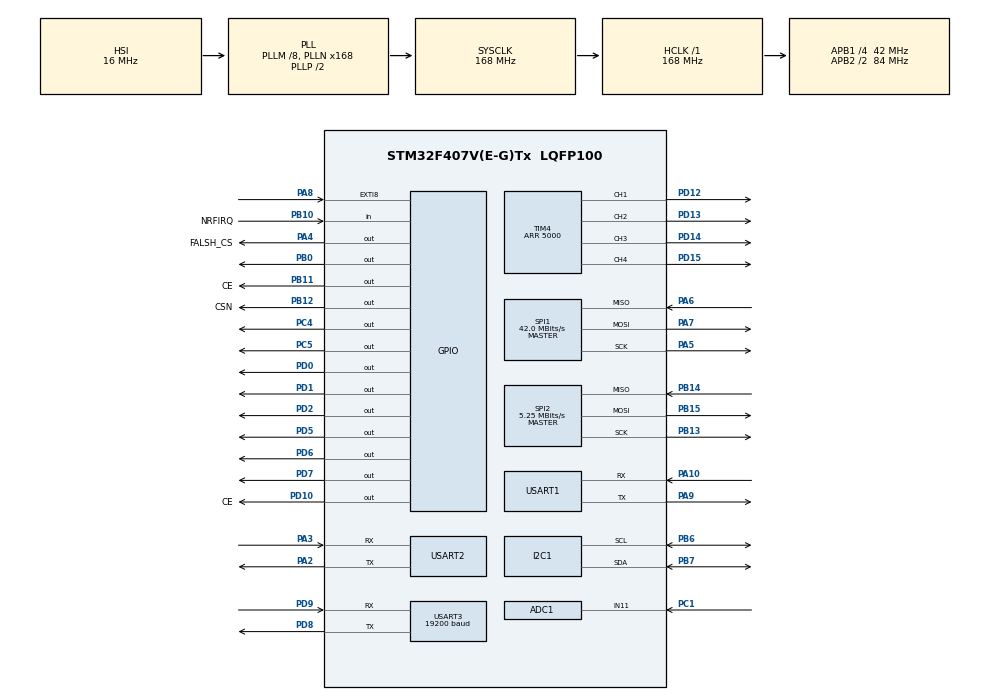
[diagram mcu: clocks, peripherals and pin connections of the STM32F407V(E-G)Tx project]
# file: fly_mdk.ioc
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ADC1.Channel-3\#ChannelRegularConversion=ADC_CHANNEL_11
ADC1.ContinuousConvMode=ENABLE
ADC1.DMAContinuousRequests=ENABLE
ADC1.InjNumberOfConversion=0
ADC1.NbrOfConversion=1
ADC1.NbrOfConversionFlag=1
ADC1.Rank-3\#ChannelRegularConversion=1
ADC1.SamplingTime-3\#ChannelRegularConversion=ADC_SAMPLETIME_15CYCLES
ADC1.ScanConvMode=DISABLE
ADC1.master=1
Dma.ADC1.0.Direction=DMA_PERIPH_TO_MEMORY
Dma.ADC1.0.FIFOMode=DMA_FIFOMODE_DISABLE
Dma.ADC1.0.Instance=DMA2_Stream0
Dma.ADC1.0.MemDataAlignment=DMA_MDATAALIGN_WORD
Dma.ADC1.0.MemInc=DMA_MINC_ENABLE
Dma.ADC1.0.Mode=DMA_CIRCULAR
Dma.ADC1.0.PeriphDataAlignment=DMA_PDATAALIGN_WORD
Dma.ADC1.0.PeriphInc=DMA_PINC_DISABLE
Dma.ADC1.0.Priority=DMA_PRIORITY_VERY_HIGH
Dma.Request0=ADC1
Dma.Request1=USART3_RX
Dma.USART3_RX.1.Direction=DMA_PERIPH_TO_MEMORY
Dma.USART3_RX.1.FIFOMode=DMA_FIFOMODE_DISABLE
Dma.USART3_RX.1.Instance=DMA1_Stream1
Dma.USART3_RX.1.MemDataAlignment=DMA_MDATAALIGN_BYTE
Dma.USART3_RX.1.MemInc=DMA_MINC_ENABLE
Dma.USART3_RX.1.Mode=DMA_CIRCULAR
Dma.USART3_RX.1.PeriphDataAlignment=DMA_PDATAALIGN_BYTE
Dma.USART3_RX.1.PeriphInc=DMA_PINC_DISABLE
Dma.USART3_RX.1.Priority=DMA_PRIORITY_HIGH
I2C1.I2C_Mode=I2C_Fast
Mcu.Family=STM32F4
Mcu.Name=STM32F407V(E-G)Tx
Mcu.Package=LQFP100
NVIC.DMA1_Stream1_IRQn=true\:0\:0\:false\:true\:true\:1\:true\:true
NVIC.EXTI9_5_IRQn=true\:2\:2\:true\:false\:true\:true\:true
NVIC.PriorityGroup=NVIC_PRIORITYGROUP_2
NVIC.TIM2_IRQn=true\:1\:1\:true\:false\:true\:true\:true
NVIC.TIM3_IRQn=true\:0\:0\:false\:false\:true\:true\:true
NVIC.USART1_IRQn=true\:0\:0\:false\:false\:true\:true\:true
NVIC.USART3_IRQn=true\:0\:0\:false\:true\:true\:2\:true\:true
PA10.Mode=Asynchronous
PA10.Signal=USART1_RX
PA13.Mode=Serial_Wire
PA13.Signal=SYS_JTMS-SWDIO
PA14.Mode=Serial_Wire
PA14.Signal=SYS_JTCK-SWCLK
PA2.Mode=Asynchronous
PA2.Signal=USART2_TX
PA3.Mode=Asynchronous
PA3.Signal=USART2_RX
PA4.GPIO_Label=FALSH_CS
PA4.GPIO_Speed=GPIO_SPEED_FREQ_VERY_HIGH
PA4.PinState=GPIO_PIN_SET
PA4.Signal=GPIO_Output
PA5.Mode=Full_Duplex_Master
PA5.Signal=SPI1_SCK
PA6.Mode=Full_Duplex_Master
PA6.Signal=SPI1_MISO
PA7.Mode=Full_Duplex_Master
PA7.Signal=SPI1_MOSI
PA8.GPIO_ModeDefaultEXTI=GPIO_MODE_IT_FALLING
PA8.GPIO_PuPd=GPIO_PULLUP
PA8.Signal=GPXTI8
PA9.Mode=Asynchronous
PA9.Signal=USART1_TX
PB0.GPIO_Speed=GPIO_SPEED_FREQ_VERY_HIGH
PB0.PinState=GPIO_PIN_SET
PB0.Signal=GPIO_Output
PB10.GPIO_Label=NRFIRQ
PB10.GPIO_PuPd=GPIO_PULLUP
PB10.Signal=GPIO_Input
PB11.GPIO_Label=CE
PB11.GPIO_ModeDefaultOutputPP=GPIO_MODE_OUTPUT_PP
PB11.GPIO_PuPd=GPIO_NOPULL
PB11.GPIO_Speed=GPIO_SPEED_FREQ_VERY_HIGH
PB11.PinState=GPIO_PIN_SET
PB11.Signal=GPIO_Output
PB12.GPIO_Label=CSN
PB12.GPIO_ModeDefaultOutputPP=GPIO_MODE_OUTPUT_PP
PB12.GPIO_Speed=GPIO_SPEED_FREQ_VERY_HIGH
PB12.PinState=GPIO_PIN_SET
PB12.Signal=GPIO_Output
PB13.Mode=Full_Duplex_Master
PB13.Signal=SPI2_SCK
PB14.Mode=Full_Duplex_Master
PB14.Signal=SPI2_MISO
PB15.Mode=Full_Duplex_Master
PB15.Signal=SPI2_MOSI
PB6.GPIO_Mode=GPIO_MODE_AF_OD
PB6.GPIO_Pu=GPIO_NOPULL
PB6.GPIO_Speed=GPIO_SPEED_FREQ_VERY_HIGH
PB6.Mode=I2C
PB6.Signal=I2C1_SCL
PB7.GPIO_Pu=GPIO_NOPULL
PB7.Mode=I2C
PB7.Signal=I2C1_SDA
PC1.Signal=ADCx_IN11
PC4.GPIO_ModeDefaultOutputPP=GPIO_MODE_OUTPUT_PP
PC4.GPIO_Speed=GPIO_SPEED_FREQ_VERY_HIGH
PC4.PinState=GPIO_PIN_SET
PC4.Signal=GPIO_Output
PC5.GPIO_ModeDefaultOutputPP=GPIO_MODE_OUTPUT_PP
PC5.GPIO_PuPd=GPIO_NOPULL
PC5.GPIO_Speed=GPIO_SPEED_FREQ_VERY_HIGH
PC5.PinState=GPIO_PIN_SET
PC5.Signal=GPIO_Output
PD0.GPIO_Speed=GPIO_SPEED_FREQ_VERY_HIGH
PD0.PinState=GPIO_PIN_SET
PD0.Signal=GPIO_Output
PD1.GPIO_Speed=GPIO_SPEED_FREQ_VERY_HIGH
PD1.PinState=GPIO_PIN_SET
PD1.Signal=GPIO_Output
PD10.GPIO_Label=CE
PD10.GPIO_ModeDefaultOutputPP=GPIO_MODE_OUTPUT_PP
PD10.GPIO_PuPd=GPIO_NOPULL
PD10.GPIO_Speed=GPIO_SPEED_FREQ_VERY_HIGH
PD10.PinState=GPIO_PIN_SET
PD10.Signal=GPIO_Output
PD12.Signal=S_TIM4_CH1
PD13.Signal=S_TIM4_CH2
PD14.Signal=S_TIM4_CH3
PD15.Signal=S_TIM4_CH4
PD2.GPIO_Speed=GPIO_SPEED_FREQ_VERY_HIGH
PD2.PinState=GPIO_PIN_SET
PD2.Signal=GPIO_Output
PD5.GPIO_Speed=GPIO_SPEED_FREQ_VERY_HIGH
PD5.PinState=GPIO_PIN_SET
PD5.Signal=GPIO_Output
PD6.GPIO_Speed=GPIO_SPEED_FREQ_VERY_HIGH
PD6.PinState=GPIO_PIN_SET
PD6.Signal=GPIO_Output
PD7.GPIO_Speed=GPIO_SPEED_FREQ_VERY_HIGH
PD7.PinState=GPIO_PIN_SET
PD7.Signal=GPIO_Output
PD8.Mode=Asynchronous
PD8.Signal=USART3_TX
PD9.Mode=Asynchronous
PD9.Signal=USART3_RX
PH0-OSC_IN.Mode=HSE-External-Oscillator
PH0-OSC_IN.Signal=RCC_OSC_IN
PH1-OSC_OUT.Mode=HSE-External-Oscillator
PH1-OSC_OUT.Signal=RCC_OSC_OUT
ProjectManager.HeapSize=0x200
ProjectManager.StackSize=0x400
ProjectManager.TargetToolchain=MDK-ARM V5
RCC.48MHZClocksFreq_Value=84000000
RCC.AHBFreq_Value=168000000
RCC.APB1CLKDivider=RCC_HCLK_DIV4
RCC.APB1Freq_Value=42000000
RCC.APB1TimFreq_Value=84000000
RCC.APB2CLKDivider=RCC_HCLK_DIV2
RCC.APB2Freq_Value=84000000
RCC.APB2TimFreq_Value=168000000
RCC.CortexFreq_Value=168000000
RCC.HCLKFreq_Value=168000000
RCC.HSE_VALUE=8000000
RCC.HSI_VALUE=16000000
RCC.LSE_VALUE=32768
RCC.PLLM=8
RCC.PLLN=168
RCC.SYSCLKFreq_VALUE=168000000
RCC.SYSCLKSource=RCC_SYSCLKSOURCE_PLLCLK
RCC.VCOOutputFreq_Value=336000000
SH.ADCx_IN11.0=ADC1_IN11,IN11
SH.S_TIM4_CH1.0=TIM4_CH1,PWM Generation1 CH1
SH.S_TIM4_CH2.0=TIM4_CH2,PWM Generation2 CH2
SH.S_TIM4_CH3.0=TIM4_CH3,PWM Generation3 CH3
SH.S_TIM4_CH4.0=TIM4_CH4,PWM Generation4 CH4
SPI1.BaudRatePrescaler=SPI_BAUDRATEPRESCALER_2
SPI1.CalculateBaudRate=42.0 MBits/s
SPI1.Direction=SPI_DIRECTION_2LINES
SPI1.Mode=SPI_MODE_MASTER
SPI1.VirtualType=VM_MASTER
SPI2.BaudRatePrescaler=SPI_BAUDRATEPRESCALER_8
SPI2.CalculateBaudRate=5.25 MBits/s
SPI2.Direction=SPI_DIRECTION_2LINES
SPI2.Mode=SPI_MODE_MASTER
SPI2.VirtualType=VM_MASTER
TIM2.AutoReloadPreload=TIM_AUTORELOAD_PRELOAD_ENABLE
TIM2.Period=9999
TIM2.Prescaler=1679
TIM3.AutoReloadPreload=TIM_AUTORELOAD_PRELOAD_ENABLE
TIM3.Period=1000-1
TIM3.Prescaler=1679
TIM4.AutoReloadPreload=TIM_AUTORELOAD_PRELOAD_ENABLE
TIM4.Channel-PWM\ Generation1\ CH1=TIM_CHANNEL_1
TIM4.Channel-PWM\ Generation2\ CH2=TIM_CHANNEL_2
TIM4.Channel-PWM\ Generation3\ CH3=TIM_CHANNEL_3
TIM4.Channel-PWM\ Generation4\ CH4=TIM_CHANNEL_4
TIM4.Period=5000
USART1.VirtualMode=VM_ASYNC
USART2.VirtualMode=VM_ASYNC
USART3.BaudRate=19200
USART3.VirtualMode=VM_ASYNC
VP_TIM2_VS_ClockSourceINT.Mode=Internal
VP_TIM3_VS_ClockSourceINT.Mode=Internal
board=custom

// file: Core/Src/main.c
/* USER CODE BEGIN Header */
/**
  ******************************************************************************
  * @file           : main.c
  * @brief          : Main program body
  ******************************************************************************
  * @attention
  *
  * Copyright (c) 2024 STMicroelectronics.
  * All rights reserved.
  *
  * This software is licensed under terms that can be found in the LICENSE file
  * in the root directory of this software component.
  * If no LICENSE file comes with this software, it is provided AS-IS.
  *
  ******************************************************************************
  */
/* USER CODE END Header */
#include "main.h"
#include "adc.h"
#include "dma.h"
#include "i2c.h"
#include "spi.h"
#include "tim.h"
#include "usart.h"
#include "gpio.h"

/* USER CODE BEGIN Includes */
#include "rgb.h"
#include "motor.h"
#include "nrf24l01.h"
#include "stdio.h"
#include "W25Q64JVSSIQ.h"
#include "battery.h"
#include "pwm3901.h"
#include "mpu6050.h"
#include "inv_mpu.h"
#include "inv_mpu_dmp_motion_driver.h"
#include "Attitude_solution.h"
/* USER CODE END Includes */

void SystemClock_Config(void);
static void MX_NVIC_Init(void);
/* USER CODE BEGIN PFP */

int fputc(int ch,FILE *f)
{
//采用轮询方式发送1字节数据，超时时间设置为无限等待
HAL_UART_Transmit(&huart1,(uint8_t *)&ch,1,HAL_MAX_DELAY);
return ch;
}
int fgetc(FILE *f)
{
uint8_t ch;
// 采用轮询方式接收 1字节数据，超时时间设置为无限等待
HAL_UART_Receive( &huart1,(uint8_t*)&ch,1, HAL_MAX_DELAY );
return ch;
}
/* USER CODE END PFP */

int main(void)
{

  /* MCU Configuration--------------------------------------------------------*/

  /* Reset of all peripherals, Initializes the Flash interface and the Systick. */
  HAL_Init();

  /* Configure the system clock */
  SystemClock_Config();

  /* USER CODE BEGIN SysInit */
  HAL_Delay(500);
  /* USER CODE END SysInit */

  /* Initialize all configured peripherals */
  MX_GPIO_Init();
  MX_I2C1_Init();
  MX_SPI1_Init();
  MX_SPI2_Init();
  MX_TIM4_Init();
  MX_USART1_UART_Init();
  MX_DMA_Init();
  MX_ADC1_Init();
  MX_USART2_UART_Init();
  MX_USART3_UART_Init();
  MX_TIM2_Init();
  MX_TIM3_Init();

  /* Initialize interrupts */
  MX_NVIC_Init();
  /* USER CODE BEGIN 2 */
  //光流
  pmw3901_init();

  //电池
  battery_init();
  //2.4G通讯
  nrf2401_init();
  //电机启动
  HAL_TIM_PWM_Start(&htim4,TIM_CHANNEL_1);     //Motor1
  HAL_TIM_PWM_Start(&htim4,TIM_CHANNEL_2);     //Motor2
  HAL_TIM_PWM_Start(&htim4,TIM_CHANNEL_3);     //Motor3
  HAL_TIM_PWM_Start(&htim4,TIM_CHANNEL_4);     //Motor4
  wireless_printf_battery("光流传感器启动\r\n");
  wireless_printf_battery("电机启动\r\n");
  wireless_printf_battery("RGB灯启动\r\n");
  //w25初始化
  w25_Init(&w25_1,&hspi1,W25Q64_cs_out,w25_spi_witre,w25_spi_read);
  FALSH_Read_id(&w25_1,0);
  if(FALSH_Read_id(&w25_1,1)==flash1_id) wireless_printf_battery("外部flash通讯成功\r\n");
  else wireless_printf_battery("外部flash通讯失败\r\n");
  //NRF24L01_RX_Mode();
  wireless_printf_battery("当前电池电压为%f V\r\n",2*(get_val()*3.3)/4096);
  //mpu6050启动
  HAL_Delay(500);
  for(int i=0;i<10;i++){
  MPU6050_Init(&mpu6050);
  }
//  get_mpu6050data_frist(&mpu6050);
  imu_rest();//滤波数据初始化
  //开始定时器
  HAL_TIM_Base_Start_IT(&htim2);
  HAL_TIM_Base_Start_IT(&htim3);

  /* USER CODE END 2 */

  /* Infinite loop */
  /* USER CODE BEGIN WHILE */
  while (1)
  {
      float num[6];
      HAL_Delay(100);
      if(MPU6050_Get_Gyroscope(&mpu6050,num,&num[1],&num[2]));
      int i=3;
      while(i--){
          wireless_printf_battery("num[%d]:%f\r\n",i,num[i]);
      }
//            RGB_flashing(RGB1);
//            RGB_flashing(RGB2);
//            RGB_flashing(RGB3);
//    optocal_flow_data(uart3_rx_buff);
//    printArray(uart3_rx_buff,11);
//    printf("%d\r\n",Optical_flow1.x);
//    printf("%d\r\n",Optical_flow1.y);
//    printf("%d\r\n",Optical_flow1.h);
//    printf("%d\r\n",Optical_flow1.soual);
 //		motor1(1000);
//		motor2(2500);
//		motor3(4000);
//		motor4(4500);

      //uint8_t res[32]="123456789";
//    uint8_t res1[32]="1111111";
////    FALSH_Sector_Erase(w25_1,(uint32_t)address(0,0),Block_Erase_4kb);
//    FLASH_Page_Program(w25_1,(uint32_t)address(0,0),res,32);
//    FLASH_Read(w25_1,1,(uint32_t)address(0,0),res1,31);
    /* USER CODE END WHILE */

  }
}

void SystemClock_Config(void)
{
  RCC_OscInitTypeDef RCC_OscInitStruct = {0};
  RCC_ClkInitTypeDef RCC_ClkInitStruct = {0};

  /** Configure the main internal regulator output voltage
  */
  __HAL_RCC_PWR_CLK_ENABLE();
  __HAL_PWR_VOLTAGESCALING_CONFIG(PWR_REGULATOR_VOLTAGE_SCALE1);
  /** Initializes the RCC Oscillators according to the specified parameters
  * in the RCC_OscInitTypeDef structure.
  */
  RCC_OscInitStruct.OscillatorType = RCC_OSCILLATORTYPE_HSI;
  RCC_OscInitStruct.HSIState = RCC_HSI_ON;
  RCC_OscInitStruct.HSICalibrationValue = RCC_HSICALIBRATION_DEFAULT;
  RCC_OscInitStruct.PLL.PLLState = RCC_PLL_ON;
  RCC_OscInitStruct.PLL.PLLSource = RCC_PLLSOURCE_HSI;
  RCC_OscInitStruct.PLL.PLLM = 8;
  RCC_OscInitStruct.PLL.PLLN = 168;
  RCC_OscInitStruct.PLL.PLLP = RCC_PLLP_DIV2;
  RCC_OscInitStruct.PLL.PLLQ = 4;
  if (HAL_RCC_OscConfig(&RCC_OscInitStruct) != HAL_OK)
  {
    Error_Handler();
  }
  /** Initializes the CPU, AHB and APB buses clocks
  */
  RCC_ClkInitStruct.ClockType = RCC_CLOCKTYPE_HCLK|RCC_CLOCKTYPE_SYSCLK
                              |RCC_CLOCKTYPE_PCLK1|RCC_CLOCKTYPE_PCLK2;
  RCC_ClkInitStruct.SYSCLKSource = RCC_SYSCLKSOURCE_PLLCLK;
  RCC_ClkInitStruct.AHBCLKDivider = RCC_SYSCLK_DIV1;
  RCC_ClkInitStruct.APB1CLKDivider = RCC_HCLK_DIV4;
  RCC_ClkInitStruct.APB2CLKDivider = RCC_HCLK_DIV2;

  if (HAL_RCC_ClockConfig(&RCC_ClkInitStruct, FLASH_LATENCY_5) != HAL_OK)
  {
    Error_Handler();
  }
}

/**
  * @brief NVIC Configuration.
  * @retval None
  */
static void MX_NVIC_Init(void)
{
  /* DMA1_Stream1_IRQn interrupt configuration */
  HAL_NVIC_SetPriority(DMA1_Stream1_IRQn, 0, 0);
  HAL_NVIC_EnableIRQ(DMA1_Stream1_IRQn);
  /* USART3_IRQn interrupt configuration */
  HAL_NVIC_SetPriority(USART3_IRQn, 0, 0);
  HAL_NVIC_EnableIRQ(USART3_IRQn);
}

void Error_Handler(void)
{
  __disable_irq();
  while (1)
  {
  }
}
